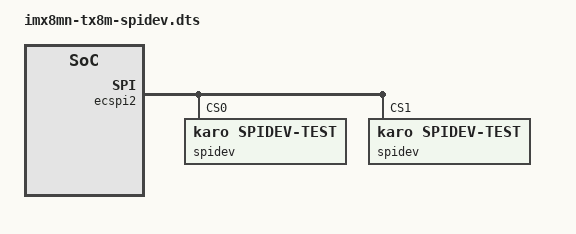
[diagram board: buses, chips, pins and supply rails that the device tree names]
// SPDX-License-Identifier: (GPL-2.0 OR BSD-3-Clause)
/*
 * Copyright (C) 2023 Lothar Waßmann <LW@KARO-electronics.de>
 */

/dts-v1/;

/plugin/;

#include <dt-bindings/gpio/gpio.h>
#include "imx8mn-pinfunc.h"

&{/chosen} {
	overlays {
		tx8m-spidev;
	};
};

&ecspi2 {
	status = "okay";

	spidev@0 {
		reg = <0>;
		compatible = "karo,spidev-test";
		pinctrl-names = "default";
		pinctrl-0 = <&pinctrl_ecspi2_cs0>;
		cs-gpios = <&gpio5 13 GPIO_ACTIVE_LOW>;
	};

	spidev@1 {
		reg = <1>;
		compatible = "karo,spidev-test";
		pinctrl-names = "default";
		pinctrl-0 = <&pinctrl_ecspi2_cs1>;
		cs-gpios = <&gpio4 4 GPIO_ACTIVE_LOW>;
	};
};

&iomuxc {
	pinctrl_ecspi2_cs0: ecspi2-cs0grp {
		fsl,pins = <
			MX8MN_IOMUXC_ECSPI2_SS0_GPIO5_IO13	0x13fe
		>;
	};

	pinctrl_ecspi2_cs1: ecspi2-cs1grp {
		fsl,pins = <
			MX8MN_IOMUXC_SD2_WP_GPIO2_IO20		0x13fe
		>;
	};
};
